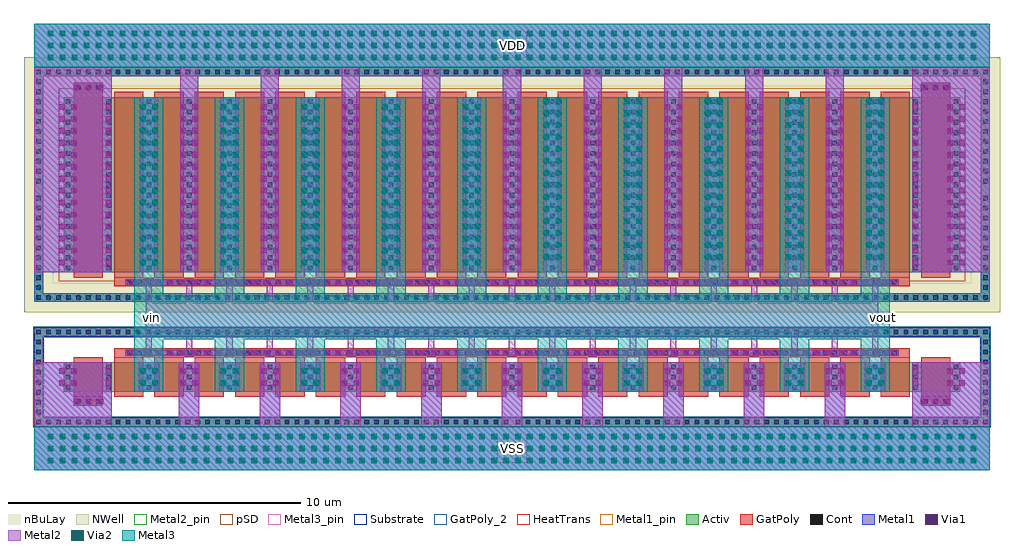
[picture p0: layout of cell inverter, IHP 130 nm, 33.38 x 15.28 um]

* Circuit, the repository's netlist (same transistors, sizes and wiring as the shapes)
* Extracted by KLayout with SG13G2 LVS runset on : 04/09/2026 14:30

.SUBCKT inverter VDD VSS vin vout
M$1 VSS VSS VSS VSS sg13_lv_nmos L=1u W=2u AS=0.53p AD=0.53p PS=4.06u PD=4.06u
+ rfmode=0
M$2 VSS vin vout VSS sg13_lv_nmos L=1u W=20u AS=3.8p AD=3.8p PS=27.6u PD=27.6u
+ rfmode=0
M$23 VDD VDD VDD VDD sg13_lv_pmos L=1u W=12u AS=3.18p AD=3.18p PS=19.06u
+ PD=19.06u rfmode=0
M$24 VDD vin vout VDD sg13_lv_pmos L=1u W=120u AS=22.8p AD=22.8p PS=127.6u
+ PD=127.6u rfmode=0
.ENDS inverter

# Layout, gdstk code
import gdstk
lib = gdstk.Library(unit=1e-6, precision=1e-09)
def R(c, l, rs):  # rectangles x0, y0, x1, y1
    for r in rs: c.add(gdstk.rectangle(r[:2], r[2:], *l))
def A(c, l, x, y, w, h, nx, ny, dx, dy):  # array of equal rectangles
    R(c, l, [(x+i*dx, y+j*dy, x+i*dx+w, y+j*dy+h) for i in range(nx) for j in range(ny)])
def P(c, l, *ps):  # polygons
    for p in ps: c.add(gdstk.Polygon(p, *l))
Activ = (1, 0)
GatPoly = (5, 0)
GatPoly_2 = (5, 2)
Cont = (6, 0)
Metal1 = (8, 0)
Metal1_pin = (8, 2)
Metal2 = (10, 0)
Metal2_pin = (10, 2)
pSD = (14, 0)
Via1 = (19, 0)
Via2 = (29, 0)
Metal3 = (30, 0)
Metal3_pin = (30, 2)
NWell = (31, 0)
nBuLay = (32, 0)
Substrate = (40, 0)
HeatTrans = (51, 0)

pmos = lib.new_cell('pmos')
A(pmos, Activ, 0, 0, 0.3, 0.3, 23, 1, 1.38, 0)
R(pmos, Activ, [(-1.01,-0.71,-0.71,6.71), (31.37,-0.71,31.67,6.71), (0,0,30.66,6), (-1.01,6.71,31.67,7.01)])
P(pmos, Activ, [(-1.01,-1.01),(-1.01,6.71),(-0.71,6.71),(-0.71,-0.71),(31.37,-0.71),(31.37,6.71),(-1.01,6.71),(-1.01,7.01),(31.67,7.01),(31.67,-1.01)])
A(pmos, GatPoly, 0.34, -0.18, 1, 6.36, 22, 1, 1.38, 0)
R(pmos, GatPoly, [(0.34,-0.18,1.34,6.18)])
A(pmos, Cont, -0.94, -0.94, 0.16, 0.16, 48, 2, 0.34, 7.72)
A(pmos, Cont, 15.46, -0.94, 0.16, 0.16, 48, 2, 0.34, 7.72)
A(pmos, Cont, -0.94, -0.6, 0.16, 0.16, 1, 10, 0, 0.34)
A(pmos, Cont, 31.44, -0.6, 0.16, 0.16, 1, 10, 0, 0.34)
A(pmos, Cont, 0.07, 0.07, 0.16, 0.16, 23, 4, 1.38, 0.355)
A(pmos, Cont, 0.07, 1.495, 0.16, 0.16, 23, 4, 1.38, 0.355)
A(pmos, Cont, 0.07, 2.92, 0.16, 0.16, 23, 4, 1.38, 0.355)
A(pmos, Cont, -0.94, 3.04, 0.16, 0.16, 1, 11, 0, 0.34)
A(pmos, Cont, 31.44, 3.04, 0.16, 0.16, 1, 11, 0, 0.34)
A(pmos, Cont, 0.07, 4.345, 0.16, 0.16, 23, 4, 1.38, 0.355)
A(pmos, Cont, 0.07, 5.77, 0.16, 0.16, 23, 1, 1.38, 0)
A(pmos, Metal1, 1.45, 0, 0.16, 6, 22, 1, 1.38, 0)
R(pmos, Metal1, [(-1.01,-1.01,31.67,-0.71), (-1.01,-0.71,-0.71,6.71), (31.37,-0.71,31.67,6.71), (0.07,0,0.23,6), (0.07,0,0.23,6), (1.45,0,1.61,6), (-1.01,6.71,31.67,7.01)])
R(pmos, pSD, [(-0.18,-0.3,30.84,6.3)])
R(pmos, NWell, [(-1.36,-1.36,32.02,7.36), (-0.31,-0.31,30.97,6.31)])
R(pmos, nBuLay, [(-1.36,-0.36,-0.36,6.36), (31.02,-0.36,32.02,6.36), (-1.36,6.36,32.02,7.36)])
P(pmos, nBuLay, [(-1.36,-1.36),(-1.36,6.36),(-0.36,6.36),(-0.36,-0.36),(31.02,-0.36),(31.02,6.36),(-1.36,6.36),(-1.36,7.36),(32.02,7.36),(32.02,-1.36)])
R(pmos, Substrate, [(30.36,0,30.66,0.3)])
A(pmos, HeatTrans, 0.34, -0.18, 1, 6.36, 22, 1, 1.38, 0)
pmos.add(gdstk.Label('pmos', (0.84,3), layer=63, texttype=0))
pmos.add(gdstk.Label('well', (15.33,-0.86), layer=63, texttype=0))
pmos.add(gdstk.Label('pmos', (0.84,3), layer=51, texttype=0))
pmos.add(gdstk.Label('pmos', (2.22,3), layer=51, texttype=0))
pmos.add(gdstk.Label('pmos', (3.6,3), layer=51, texttype=0))
pmos.add(gdstk.Label('pmos', (4.98,3), layer=51, texttype=0))
pmos.add(gdstk.Label('pmos', (6.36,3), layer=51, texttype=0))
pmos.add(gdstk.Label('pmos', (7.74,3), layer=51, texttype=0))
pmos.add(gdstk.Label('pmos', (9.12,3), layer=51, texttype=0))
pmos.add(gdstk.Label('pmos', (10.5,3), layer=51, texttype=0))
pmos.add(gdstk.Label('pmos', (11.88,3), layer=51, texttype=0))
pmos.add(gdstk.Label('pmos', (13.26,3), layer=51, texttype=0))
pmos.add(gdstk.Label('pmos', (14.64,3), layer=51, texttype=0))
pmos.add(gdstk.Label('pmos', (16.02,3), layer=51, texttype=0))
pmos.add(gdstk.Label('pmos', (17.4,3), layer=51, texttype=0))
pmos.add(gdstk.Label('pmos', (18.78,3), layer=51, texttype=0))
pmos.add(gdstk.Label('pmos', (20.16,3), layer=51, texttype=0))
pmos.add(gdstk.Label('pmos', (21.54,3), layer=51, texttype=0))
pmos.add(gdstk.Label('pmos', (22.92,3), layer=51, texttype=0))
pmos.add(gdstk.Label('pmos', (24.3,3), layer=51, texttype=0))
pmos.add(gdstk.Label('pmos', (25.68,3), layer=51, texttype=0))
pmos.add(gdstk.Label('pmos', (27.06,3), layer=51, texttype=0))
pmos.add(gdstk.Label('pmos', (28.44,3), layer=51, texttype=0))
pmos.add(gdstk.Label('pmos', (29.82,3), layer=51, texttype=0))

nmos = lib.new_cell('nmos')
A(nmos, Activ, 0, 0, 0.3, 0.3, 23, 1, 1.38, 0)
R(nmos, Activ, [(-1.01,-0.89,-0.71,1.89), (31.37,-0.89,31.67,1.89), (0,0,30.66,1), (-1.01,1.89,31.67,2.19)])
P(nmos, Activ, [(-1.01,-1.19),(-1.01,1.89),(-0.71,1.89),(-0.71,-0.89),(31.37,-0.89),(31.37,1.89),(-1.01,1.89),(-1.01,2.19),(31.67,2.19),(31.67,-1.19)])
A(nmos, GatPoly, 0.34, -0.18, 1, 1.36, 22, 1, 1.38, 0)
R(nmos, GatPoly_2, [(0.34,-0.18,1.34,1.18)])
A(nmos, Cont, -0.94, -1.12, 0.16, 0.16, 48, 2, 0.34, 3.08)
A(nmos, Cont, 15.46, -1.12, 0.16, 0.16, 48, 2, 0.34, 3.08)
A(nmos, Cont, -0.94, -0.78, 0.16, 0.16, 1, 4, 0, 0.34)
A(nmos, Cont, 31.44, -0.78, 0.16, 0.16, 1, 4, 0, 0.34)
A(nmos, Cont, 0.07, 0.07, 0.16, 0.16, 23, 3, 1.38, 0.35)
A(nmos, Cont, -0.94, 0.6, 0.16, 0.16, 1, 4, 0, 0.34)
A(nmos, Cont, 31.44, 0.6, 0.16, 0.16, 1, 4, 0, 0.34)
A(nmos, Metal1, 0.07, 0, 0.16, 1, 23, 1, 1.38, 0)
R(nmos, Metal1, [(-1.01,-1.19,31.67,-0.89), (-1.01,-0.89,-0.71,1.89), (31.37,-0.89,31.67,1.89), (-1.01,1.89,31.67,2.19)])
R(nmos, Metal1_pin, [(0.07,0,0.23,1), (1.45,0,1.61,1)])
R(nmos, pSD, [(-1.04,-0.86,-0.68,1.86), (31.34,-0.86,31.7,1.86), (-1.04,1.86,31.7,2.22)])
P(nmos, pSD, [(-1.04,-1.22),(-1.04,1.86),(-0.68,1.86),(-0.68,-0.86),(31.34,-0.86),(31.34,1.86),(-1.04,1.86),(-1.04,2.22),(31.7,2.22),(31.7,-1.22)])
R(nmos, Substrate, [(-1.04,-0.86,-0.68,1.86), (31.34,-0.86,31.7,1.86), (-1.04,1.86,31.7,2.22)])
P(nmos, Substrate, [(-1.04,-1.22),(-1.04,1.86),(-0.68,1.86),(-0.68,-0.86),(31.34,-0.86),(31.34,1.86),(-1.04,1.86),(-1.04,2.22),(31.7,2.22),(31.7,-1.22)])
A(nmos, HeatTrans, 0.34, -0.18, 1, 1.36, 22, 1, 1.38, 0)
nmos.add(gdstk.Label('nmos', (0.84,0.5), layer=63, texttype=0))
nmos.add(gdstk.Label('sub!', (15.33,-1.04), layer=63, texttype=0))
nmos.add(gdstk.Label('nmos', (0.84,0.5), layer=51, texttype=0))
nmos.add(gdstk.Label('nmos', (2.22,0.5), layer=51, texttype=0))
nmos.add(gdstk.Label('nmos', (3.6,0.5), layer=51, texttype=0))
nmos.add(gdstk.Label('nmos', (4.98,0.5), layer=51, texttype=0))
nmos.add(gdstk.Label('nmos', (6.36,0.5), layer=51, texttype=0))
nmos.add(gdstk.Label('nmos', (7.74,0.5), layer=51, texttype=0))
nmos.add(gdstk.Label('nmos', (9.12,0.5), layer=51, texttype=0))
nmos.add(gdstk.Label('nmos', (10.5,0.5), layer=51, texttype=0))
nmos.add(gdstk.Label('nmos', (11.88,0.5), layer=51, texttype=0))
nmos.add(gdstk.Label('nmos', (13.26,0.5), layer=51, texttype=0))
nmos.add(gdstk.Label('nmos', (14.64,0.5), layer=51, texttype=0))
nmos.add(gdstk.Label('nmos', (16.02,0.5), layer=51, texttype=0))
nmos.add(gdstk.Label('nmos', (17.4,0.5), layer=51, texttype=0))
nmos.add(gdstk.Label('nmos', (18.78,0.5), layer=51, texttype=0))
nmos.add(gdstk.Label('nmos', (20.16,0.5), layer=51, texttype=0))
nmos.add(gdstk.Label('nmos', (21.54,0.5), layer=51, texttype=0))
nmos.add(gdstk.Label('nmos', (22.92,0.5), layer=51, texttype=0))
nmos.add(gdstk.Label('nmos', (24.3,0.5), layer=51, texttype=0))
nmos.add(gdstk.Label('nmos', (25.68,0.5), layer=51, texttype=0))
nmos.add(gdstk.Label('nmos', (27.06,0.5), layer=51, texttype=0))
nmos.add(gdstk.Label('nmos', (28.44,0.5), layer=51, texttype=0))
nmos.add(gdstk.Label('nmos', (29.82,0.5), layer=51, texttype=0))

via_stack_21 = lib.new_cell('via_stack$21')
R(via_stack_21, Metal1, [(-15.93,-0.515,15.93,0.515)])
R(via_stack_21, Metal2, [(-15.93,-0.51,15.93,0.51)])
A(via_stack_21, Via1, -15.88, -0.505, 0.19, 0.19, 78, 3, 0.41, 0.41)
A(via_stack_21, Via2, -15.88, -0.505, 0.19, 0.19, 78, 3, 0.41, 0.41)
R(via_stack_21, Metal3, [(-15.93,-0.51,15.93,0.51)])

via_stack_13 = lib.new_cell('via_stack$13')
R(via_stack_13, GatPoly, [(-13.24,-0.15,13.24,0.15)])
A(via_stack_13, Cont, -13.17, -0.08, 0.16, 0.16, 78, 1, 0.34, 0)
R(via_stack_13, Metal1, [(-13.22,-0.08,13.22,0.08)])

via_stack_16 = lib.new_cell('via_stack$16')
R(via_stack_16, Metal1, [(-13.06,-0.105,13.06,0.105)])
R(via_stack_16, Metal2, [(-13.06,-0.1,13.06,0.1)])
A(via_stack_16, Via1, -13.01, -0.095, 0.19, 0.19, 64, 1, 0.41, 0)

via_stack_5 = lib.new_cell('via_stack$5')
R(via_stack_5, Metal1, [(-0.35,-0.31,0.35,0.31)])
R(via_stack_5, Metal2, [(-0.35,-0.305,0.35,0.305)])
R(via_stack_5, Via1, [(-0.3,-0.3,-0.11,-0.11), (0.11,-0.3,0.3,-0.11), (-0.3,0.11,-0.11,0.3), (0.11,0.11,0.3,0.3)])

via_stack_12 = lib.new_cell('via_stack$12')
R(via_stack_12, Metal1, [(-0.31,-2.81,0.31,2.81)])
R(via_stack_12, Metal2, [(-0.305,-2.81,0.305,2.81)])
A(via_stack_12, Via1, -0.3, -2.76, 0.19, 0.19, 1, 14, 0, 0.41)
A(via_stack_12, Via1, 0.11, -2.76, 0.19, 0.19, 1, 14, 0, 0.41)
A(via_stack_12, Via2, -0.3, -2.76, 0.19, 0.19, 1, 14, 0, 0.41)
A(via_stack_12, Via2, 0.11, -2.76, 0.19, 0.19, 1, 14, 0, 0.41)
R(via_stack_12, Metal3, [(-0.305,-2.81,0.305,2.81)])

via_stack = lib.new_cell('via_stack')
R(via_stack, Metal1, [(-0.35,-0.31,0.35,0.31)])
R(via_stack, Metal2, [(-0.35,-0.305,0.35,0.305)])
R(via_stack, Via1, [(-0.3,-0.3,-0.11,-0.11), (0.11,-0.3,0.3,-0.11), (-0.3,0.11,-0.11,0.3), (0.11,0.11,0.3,0.3)])
R(via_stack, Via2, [(-0.3,-0.3,-0.11,-0.11), (0.11,-0.3,0.3,-0.11), (-0.3,0.11,-0.11,0.3), (0.11,0.11,0.3,0.3)])
R(via_stack, Metal3, [(-0.35,-0.305,0.35,0.305)])

via_stack_8 = lib.new_cell('via_stack$8')
R(via_stack_8, Metal1, [(-0.105,-0.35,0.105,0.35)])
R(via_stack_8, Metal2, [(-0.1,-0.35,0.1,0.35)])
R(via_stack_8, Via1, [(-0.095,-0.3,0.095,-0.11), (-0.095,0.11,0.095,0.3)])

via_stack_11 = lib.new_cell('via_stack$11')
R(via_stack_11, Metal1, [(-0.31,-2.81,0.31,2.81)])
R(via_stack_11, Metal2, [(-0.305,-2.81,0.305,2.81)])
A(via_stack_11, Via1, -0.3, -2.76, 0.19, 0.19, 1, 14, 0, 0.41)
A(via_stack_11, Via1, 0.11, -2.76, 0.19, 0.19, 1, 14, 0, 0.41)

via_stack_7 = lib.new_cell('via_stack$7')
R(via_stack_7, Metal1, [(-0.105,-2.81,0.105,2.81)])
R(via_stack_7, Metal2, [(-0.1,-2.81,0.1,2.81)])
A(via_stack_7, Via1, -0.095, -2.76, 0.19, 0.19, 1, 14, 0, 0.41)

via_stack_15 = lib.new_cell('via_stack$15')
R(via_stack_15, GatPoly, [(-0.49,-0.15,0.49,0.15)])
A(via_stack_15, Cont, -0.42, -0.08, 0.16, 0.16, 3, 1, 0.34, 0)
R(via_stack_15, Metal1, [(-0.555,-0.105,0.555,0.105)])
R(via_stack_15, Metal2, [(-0.555,-0.1,0.555,0.1)])
A(via_stack_15, Via1, -0.505, -0.095, 0.19, 0.19, 3, 1, 0.41, 0)

inverter = lib.new_cell('inverter')
R(inverter, GatPoly, [(1.7,2.21,2.7,2.51), (30.68,2.21,31.68,2.51), (3.08,3.87,30.3,4.17), (3.08,6.29,30.3,6.59), (1.7,12.95,2.7,13.25), (30.68,12.95,31.68,13.25)])
A(inverter, Metal1, 5.3, 1.5, 0.7, 2.19, 9, 1, 2.76, 0)
A(inverter, Metal1, 3.92, 2.69, 0.7, 1, 19, 1, 1.38, 0)
A(inverter, Metal1, 3.96, 6.77, 0.62, 6, 19, 1, 1.38, 0)
A(inverter, Metal1, 5.34, 6.77, 0.62, 7.01, 9, 1, 2.76, 0)
R(inverter, Metal1, [(0.35,0,33.03,1.5), (0.35,1.5,2.995,3.69), (30.385,1.5,33.03,3.69), (1.645,2.21,2.755,2.51), (30.625,2.21,31.735,2.51), (1.16,2.69,1.86,3.69), (31.52,2.69,32.22,3.69), (3.47,3.915,29.91,4.125), (3.47,6.335,29.91,6.545), (0.35,6.77,2.995,13.78), (1.2,6.77,1.82,12.77), (2.785,6.77,2.995,12.77), (30.385,6.77,33.03,13.78), (30.385,6.77,30.595,12.77), (31.56,6.77,32.18,12.77), (1.645,12.95,2.755,13.25), (30.625,12.95,31.735,13.25), (0.35,13.78,33.03,15.28)])
A(inverter, Metal2, 5.3, 1.5, 0.7, 2.19, 9, 1, 2.76, 0)
A(inverter, Metal2, 3.92, 2.69, 0.7, 1, 19, 1, 1.38, 0)
A(inverter, Metal2, 4.165, 4.12, 0.21, 2.22, 19, 1, 1.38, 0)
A(inverter, Metal2, 3.96, 6.77, 0.62, 6, 19, 1, 1.38, 0)
A(inverter, Metal2, 5.34, 6.77, 0.62, 7.01, 9, 1, 2.76, 0)
R(inverter, Metal2, [(0.35,0,33.03,1.5), (0.35,1.5,2.995,3.69), (30.385,1.5,33.03,3.69), (1.645,2.21,2.755,2.51), (30.625,2.21,31.735,2.51), (1.16,2.69,1.86,3.69), (31.52,2.69,32.22,3.69), (3.47,3.915,29.91,4.125), (4.165,4.73,29.215,5.73), (3.47,6.335,29.91,6.545), (0.35,6.77,2.995,13.78), (1.2,6.77,1.82,12.77), (2.785,6.77,2.995,12.77), (30.385,6.77,33.03,13.78), (30.385,6.77,30.595,12.77), (31.56,6.77,32.18,12.77), (1.645,12.95,2.755,13.25), (30.625,12.95,31.735,13.25), (0.35,13.78,33.03,15.28)])
R(inverter, Metal2_pin, [(4.165,5.03,4.565,5.43)])
A(inverter, Metal3, 3.77, 2.69, 1, 10.08, 10, 1, 2.76, 0)
R(inverter, Metal3, [(0.35,0,33.03,1.5), (3.77,4.48,29.61,5.98), (17.57,4.48,29.61,5.98), (0.35,13.78,33.03,15.28)])
R(inverter, Metal3_pin, [(16.19,0.26,17.19,1.26), (29.21,5.03,29.61,5.43), (16.2,14.03,17.2,15.03)])
inverter.add(gdstk.Reference(pmos, (1.36,6.77)))
inverter.add(gdstk.Reference(nmos, (1.36,2.69)))
inverter.add(gdstk.Reference(via_stack_21, (16.69,14.53)))
inverter.add(gdstk.Reference(via_stack_13, (16.69,6.44)))
inverter.add(gdstk.Reference(via_stack_16, (16.69,6.44)))
inverter.add(gdstk.Reference(via_stack_5, (11.17,3.19)))
inverter.add(gdstk.Reference(via_stack_12, (4.27,9.77)))
inverter.add(gdstk.Reference(via_stack_13, (16.69,4.02)))
inverter.add(gdstk.Reference(via_stack, (4.27,3.19)))
inverter.add(gdstk.Reference(via_stack, (7.03,3.19)))
inverter.add(gdstk.Reference(via_stack_5, (31.87,3.19)))
inverter.add(gdstk.Reference(via_stack_5, (8.41,3.19)))
inverter.add(gdstk.Reference(via_stack_5, (5.65,3.19)))
inverter.add(gdstk.Reference(via_stack_8, (30.49,3.19)))
inverter.add(gdstk.Reference(via_stack_5, (1.51,3.19)))
inverter.add(gdstk.Reference(via_stack, (9.79,3.19)))
inverter.add(gdstk.Reference(via_stack_8, (2.89,3.19)))
inverter.add(gdstk.Reference(via_stack_11, (31.87,9.77)))
inverter.add(gdstk.Reference(via_stack_12, (9.79,9.77)))
inverter.add(gdstk.Reference(via_stack_7, (30.49,9.77)))
inverter.add(gdstk.Reference(via_stack_7, (2.89,9.77)))
inverter.add(gdstk.Reference(via_stack_11, (1.51,9.77)))
inverter.add(gdstk.Reference(via_stack_12, (7.03,9.77)))
inverter.add(gdstk.Reference(via_stack_11, (5.65,9.77)))
inverter.add(gdstk.Reference(via_stack_11, (8.41,9.77)))
inverter.add(gdstk.Reference(via_stack_15, (2.2,2.36)))
inverter.add(gdstk.Reference(via_stack_15, (31.18,2.36)))
inverter.add(gdstk.Reference(via_stack_15, (2.2,13.1)))
inverter.add(gdstk.Reference(via_stack_15, (31.18,13.1)))
inverter.add(gdstk.Reference(via_stack_12, (12.55,9.77)))
inverter.add(gdstk.Reference(via_stack_16, (16.69,4.02)))
inverter.add(gdstk.Reference(via_stack, (12.55,3.19)))
inverter.add(gdstk.Reference(via_stack, (15.31,3.19)))
inverter.add(gdstk.Reference(via_stack_5, (13.93,3.19)))
inverter.add(gdstk.Reference(via_stack_12, (15.31,9.77)))
inverter.add(gdstk.Reference(via_stack_11, (11.17,9.77)))
inverter.add(gdstk.Reference(via_stack_11, (13.93,9.77)))
inverter.add(gdstk.Reference(via_stack_11, (19.45,9.77)))
inverter.add(gdstk.Reference(via_stack_5, (22.21,3.19)))
inverter.add(gdstk.Reference(via_stack_12, (18.07,9.96)))
inverter.add(gdstk.Reference(via_stack, (29.11,3.19)))
inverter.add(gdstk.Reference(via_stack, (18.07,3.19)))
inverter.add(gdstk.Reference(via_stack_5, (19.45,3.19)))
inverter.add(gdstk.Reference(via_stack_5, (16.69,3.19)))
inverter.add(gdstk.Reference(via_stack, (20.83,3.19)))
inverter.add(gdstk.Reference(via_stack_12, (23.59,9.96)))
inverter.add(gdstk.Reference(via_stack_12, (20.83,9.96)))
inverter.add(gdstk.Reference(via_stack_11, (16.69,9.77)))
inverter.add(gdstk.Reference(via_stack_12, (26.35,9.96)))
inverter.add(gdstk.Reference(via_stack, (23.59,3.19)))
inverter.add(gdstk.Reference(via_stack_11, (24.97,9.77)))
inverter.add(gdstk.Reference(via_stack_5, (27.73,3.19)))
inverter.add(gdstk.Reference(via_stack, (26.35,3.19)))
inverter.add(gdstk.Reference(via_stack_5, (24.97,3.19)))
inverter.add(gdstk.Reference(via_stack_12, (29.11,9.96)))
inverter.add(gdstk.Reference(via_stack_11, (22.21,9.77)))
inverter.add(gdstk.Reference(via_stack_11, (27.73,9.77)))
inverter.add(gdstk.Reference(via_stack_21, (16.69,0.75)))
inverter.add(gdstk.Label('vin', (4.365,5.23), layer=10, texttype=25))
inverter.add(gdstk.Label('VDD', (16.7,14.53), layer=30, texttype=25))
inverter.add(gdstk.Label('VSS', (16.69,0.76), layer=30, texttype=25))
inverter.add(gdstk.Label('vout', (29.41,5.23), layer=30, texttype=25))

lib.write_gds('inverter.gds')
